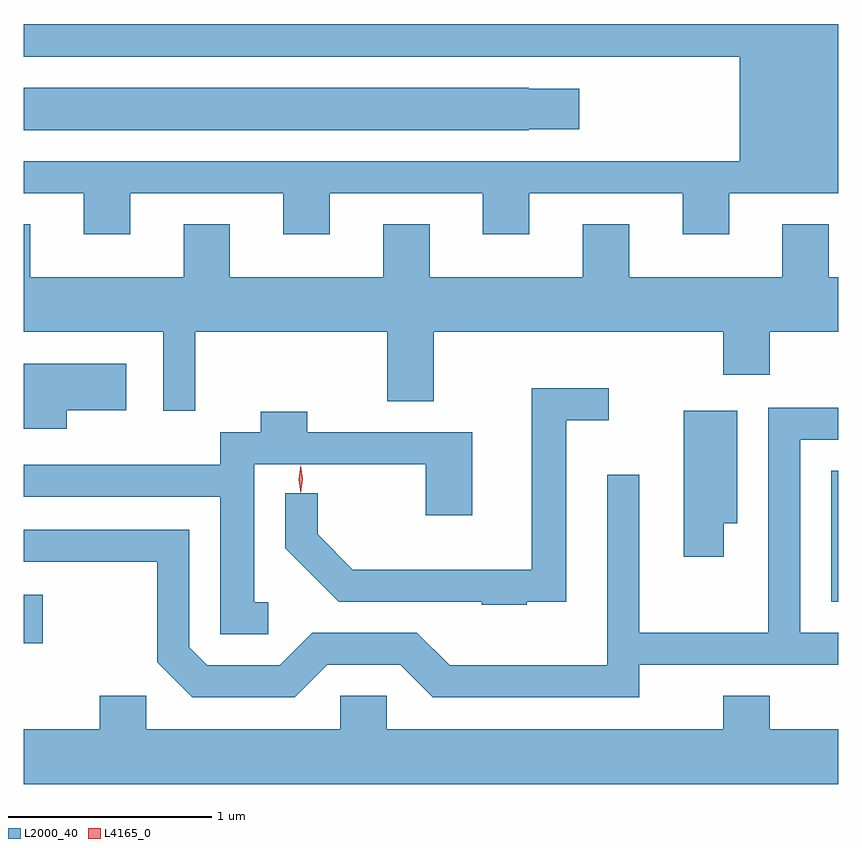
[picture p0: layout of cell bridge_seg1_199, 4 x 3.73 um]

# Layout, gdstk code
import gdstk
lib = gdstk.Library(unit=1e-6, precision=1e-09)
def R(c, l, rs):  # rectangles x0, y0, x1, y1
    for r in rs: c.add(gdstk.rectangle(r[:2], r[2:], *l))
def P(c, l, *ps):  # polygons
    for p in ps: c.add(gdstk.Polygon(p, *l))
L2000_40 = (2000, 40)
L4165_0 = (4165, 0)

bridge_seg1_199 = lib.new_cell('bridge_seg1_199')
R(bridge_seg1_199, L2000_40, [(786.296,942.448,786.389,942.684), (790.261,942.651,790.296,943.294)])
P(bridge_seg1_199, L2000_40, [(786.819,944.656),(787.571,944.656),(787.571,944.456),(787.799,944.456),(787.799,944.656),(788.551,944.656),(788.551,944.456),(788.779,944.456),(788.779,944.656),(789.531,944.656),(789.531,944.456),(789.759,944.456),(789.759,944.656),(790.296,944.656),(790.296,945.487),(786.296,945.487),(786.296,945.326),(789.811,945.326),(789.811,944.814),(786.296,944.814),(786.296,944.656),(786.591,944.656),(786.591,944.456),(786.819,944.456)],
  [(788.775,944.971),(789.024,944.971),(789.024,945.169),(788.775,945.169),(788.775,945.174),(786.296,945.174),(786.296,944.966),(788.775,944.966)],
  [(787.139,943.976),(788.081,943.976),(788.081,943.636),(788.309,943.636),(788.309,943.976),(789.731,943.976),(789.731,943.766),(789.959,943.766),(789.959,943.976),(790.296,943.976),(790.296,944.244),(790.249,944.244),(790.249,944.504),(790.021,944.504),(790.021,944.244),(789.269,944.244),(789.269,944.504),(789.041,944.504),(789.041,944.244),(788.289,944.244),(788.289,944.504),(788.061,944.504),(788.061,944.244),(787.309,944.244),(787.309,944.504),(787.081,944.504),(787.081,944.244),(786.329,944.244),(786.329,944.504),(786.296,944.504),(786.296,943.976),(786.981,943.976),(786.981,943.588),(787.139,943.588)],
  [(786.509,943.591),(786.799,943.591),(786.799,943.819),(786.296,943.819),(786.296,943.501),(786.509,943.501)],
  [(788.765,942.651),(788.959,942.651),(788.959,943.541),(789.168,943.541),(789.168,943.699),(788.791,943.699),(788.791,942.809),(787.912,942.809),(787.739,942.982),(787.739,943.183),(787.581,943.183),(787.581,942.914),(787.844,942.651),(788.545,942.651),(788.545,942.636),(788.765,942.636)],
  [(787.787,942.341),(788.144,942.341),(788.304,942.181),(789.319,942.181),(789.319,942.341),(790.296,942.341),(790.296,942.499),(790.109,942.499),(790.109,943.446),(790.296,943.446),(790.296,943.604),(789.951,943.604),(789.951,942.499),(789.319,942.499),(789.319,943.273),(789.161,943.273),(789.161,942.339),(788.387,942.339),(788.227,942.499),(787.714,942.499),(787.554,942.339),(787.197,942.339),(787.109,942.427),(787.109,943.004),(786.296,943.004),(786.296,942.846),(786.951,942.846),(786.951,942.354),(787.124,942.181),(787.627,942.181)],
  [(789.734,943.036),(789.799,943.036),(789.799,943.589),(789.536,943.589),(789.536,942.871),(789.734,942.871)],
  [(787.498,942.649),(787.429,942.649),(787.429,943.326),(788.271,943.326),(788.271,943.076),(788.499,943.076),(788.499,943.484),(787.689,943.484),(787.689,943.584),(787.461,943.584),(787.461,943.484),(787.261,943.484),(787.261,943.324),(786.296,943.324),(786.296,943.166),(787.261,943.166),(787.261,942.491),(787.498,942.491)],
  [(790.296,942.024),(789.959,942.024),(789.959,942.189),(789.731,942.189),(789.731,942.024),(788.079,942.024),(788.079,942.189),(787.851,942.189),(787.851,942.024),(786.899,942.024),(786.899,942.189),(786.671,942.189),(786.671,942.024),(786.296,942.024),(786.296,941.756),(790.296,941.756)])
P(bridge_seg1_199, L4165_0, [(787.657,943.183),(787.656,943.184),(787.647,943.253),(787.656,943.322),(787.657,943.322),(787.657,943.322),(787.667,943.253),(787.657,943.184)])

lib.write_gds('bridge_seg1_199.gds')
